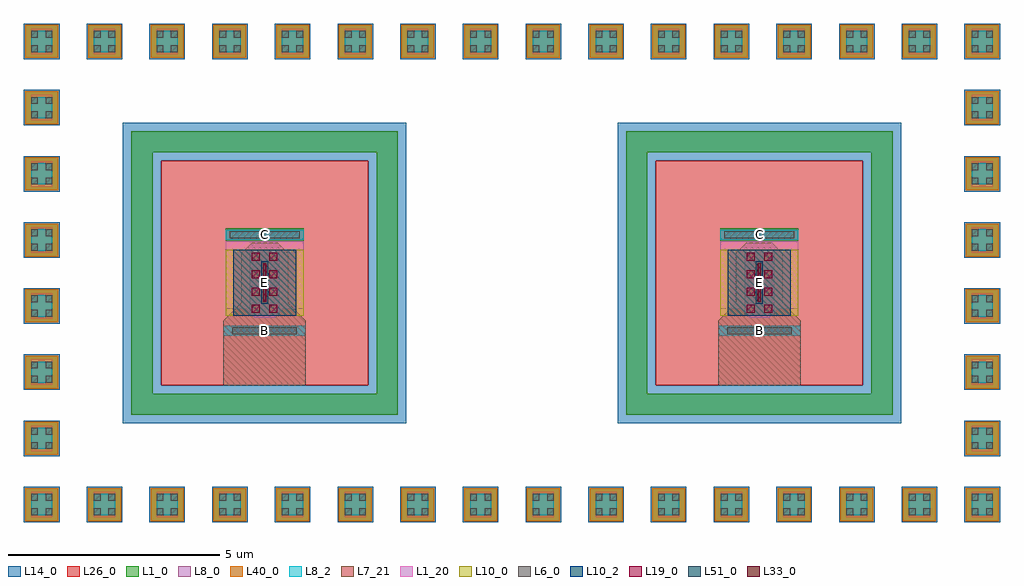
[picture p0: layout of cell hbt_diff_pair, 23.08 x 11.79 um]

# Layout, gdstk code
from math import pi, radians
import gdstk
lib = gdstk.Library(unit=1e-6, precision=1e-09)
def R(c, l, rs):  # rectangles x0, y0, x1, y1
    for r in rs: c.add(gdstk.rectangle(r[:2], r[2:], *l))
def A(c, l, x, y, w, h, nx, ny, dx, dy):  # array of equal rectangles
    R(c, l, [(x+i*dx, y+j*dy, x+i*dx+w, y+j*dy+h) for i in range(nx) for j in range(ny)])
def P(c, l, *ps):  # polygons
    for p in ps: c.add(gdstk.Polygon(p, *l))
L1_0 = (1, 0)
L1_20 = (1, 20)
L6_0 = (6, 0)
L7_21 = (7, 21)
L8_0 = (8, 0)
L8_2 = (8, 2)
L10_0 = (10, 0)
L10_2 = (10, 2)
L14_0 = (14, 0)
L19_0 = (19, 0)
L26_0 = (26, 0)
L33_0 = (33, 0)
L40_0 = (40, 0)
L51_0 = (51, 0)

npn13g2_pair_device_a_n = lib.new_cell('npn13G2_pair_device_a_n')
R(npn13g2_pair_device_a_n, L1_0, [(-0.925,0.98,0.925,1.28)])
P(npn13g2_pair_device_a_n, L1_0, [(-3.15,-3.13),(-3.15,3.58),(2.65,3.58),(2.65,3.08),(-2.65,3.08),(-2.65,-2.63),(2.65,-2.63),(2.65,3.58),(3.15,3.58),(3.15,-3.13)])
P(npn13g2_pair_device_a_n, L1_20, [(-0.235,-0.83),(-0.445,-0.62),(-0.925,-0.62),(-0.925,0.98),(0.925,0.98),(0.925,-0.62),(0.445,-0.62),(0.235,-0.83)])
R(npn13g2_pair_device_a_n, L6_0, [(-0.76,-1.22,0.76,-1.06), (-0.825,1.05,0.825,1.21)])
P(npn13g2_pair_device_a_n, L7_21, [(-0.975,-2.43),(-0.975,-0.9),(-0.555,-0.48),(-0.555,0.69),(-0.305,0.94),(0.305,0.94),(0.555,0.69),(0.555,-0.48),(0.975,-0.9),(0.975,-2.43)])
R(npn13g2_pair_device_a_n, L8_0, [(-0.975,-1.26,0.975,-1.02), (-0.35,-0.785,0.35,0.77), (-0.925,1.01,0.925,1.25)])
R(npn13g2_pair_device_a_n, L8_2, [(-0.975,-1.26,0.975,-1.02), (-0.925,1.01,0.925,1.25)])
R(npn13g2_pair_device_a_n, L10_0, [(-0.925,-0.785,0.925,0.77)])
R(npn13g2_pair_device_a_n, L10_2, [(-0.745,-0.785,0.745,0.77)])
P(npn13g2_pair_device_a_n, L14_0, [(-3.35,-3.33),(-3.35,3.78),(2.45,3.78),(2.45,2.88),(-2.45,2.88),(-2.45,-2.43),(2.45,-2.43),(2.45,3.78),(3.35,3.78),(3.35,-3.33)])
A(npn13g2_pair_device_a_n, L19_0, -0.3, -0.72, 0.19, 0.19, 1, 4, 0, 0.41)
A(npn13g2_pair_device_a_n, L19_0, 0.11, -0.72, 0.19, 0.19, 1, 4, 0, 0.41)
R(npn13g2_pair_device_a_n, L26_0, [(-2.45,-2.43,2.45,2.88)])
R(npn13g2_pair_device_a_n, L33_0, [(-0.035,-0.45,0.035,0.45)])
R(npn13g2_pair_device_a_n, L51_0, [(-0.085,-0.5,0.085,0.5)])
npn13g2_pair_device_a_n.add(gdstk.Label('npn13G2', (0,0), layer=51, texttype=0))
npn13g2_pair_device_a_n.add(gdstk.Label('npn13G2', (0.015,2.31), layer=63, texttype=0))
npn13g2_pair_device_a_n.add(gdstk.Label('C', (0,1.13), layer=63, texttype=0))
npn13g2_pair_device_a_n.add(gdstk.Label('B', (0,-1.14), layer=63, texttype=0))
npn13g2_pair_device_a_n.add(gdstk.Label('E', (0,-0.007), layer=63, texttype=0))
npn13g2_pair_device_a_n.add(gdstk.Label('Ae=1*1*0.07*0.90', (-1.977,-2.546), layer=63, texttype=0))

npn13g2_pair_device_b_m = lib.new_cell('npn13G2_pair_device_b_m')
R(npn13g2_pair_device_b_m, L1_0, [(-0.925,0.98,0.925,1.28)])
P(npn13g2_pair_device_b_m, L1_0, [(-3.15,-3.13),(-3.15,3.58),(2.65,3.58),(2.65,3.08),(-2.65,3.08),(-2.65,-2.63),(2.65,-2.63),(2.65,3.58),(3.15,3.58),(3.15,-3.13)])
P(npn13g2_pair_device_b_m, L1_20, [(-0.235,-0.83),(-0.445,-0.62),(-0.925,-0.62),(-0.925,0.98),(0.925,0.98),(0.925,-0.62),(0.445,-0.62),(0.235,-0.83)])
R(npn13g2_pair_device_b_m, L6_0, [(-0.76,-1.22,0.76,-1.06), (-0.825,1.05,0.825,1.21)])
P(npn13g2_pair_device_b_m, L7_21, [(-0.975,-2.43),(-0.975,-0.9),(-0.555,-0.48),(-0.555,0.69),(-0.305,0.94),(0.305,0.94),(0.555,0.69),(0.555,-0.48),(0.975,-0.9),(0.975,-2.43)])
R(npn13g2_pair_device_b_m, L8_0, [(-0.975,-1.26,0.975,-1.02), (-0.35,-0.785,0.35,0.77), (-0.925,1.01,0.925,1.25)])
R(npn13g2_pair_device_b_m, L8_2, [(-0.975,-1.26,0.975,-1.02), (-0.925,1.01,0.925,1.25)])
R(npn13g2_pair_device_b_m, L10_0, [(-0.925,-0.785,0.925,0.77)])
R(npn13g2_pair_device_b_m, L10_2, [(-0.745,-0.785,0.745,0.77)])
P(npn13g2_pair_device_b_m, L14_0, [(-3.35,-3.33),(-3.35,3.78),(2.45,3.78),(2.45,2.88),(-2.45,2.88),(-2.45,-2.43),(2.45,-2.43),(2.45,3.78),(3.35,3.78),(3.35,-3.33)])
A(npn13g2_pair_device_b_m, L19_0, -0.3, -0.72, 0.19, 0.19, 1, 4, 0, 0.41)
A(npn13g2_pair_device_b_m, L19_0, 0.11, -0.72, 0.19, 0.19, 1, 4, 0, 0.41)
R(npn13g2_pair_device_b_m, L26_0, [(-2.45,-2.43,2.45,2.88)])
R(npn13g2_pair_device_b_m, L33_0, [(-0.035,-0.45,0.035,0.45)])
R(npn13g2_pair_device_b_m, L51_0, [(-0.085,-0.5,0.085,0.5)])
npn13g2_pair_device_b_m.add(gdstk.Label('npn13G2', (0,0), layer=51, texttype=0))
npn13g2_pair_device_b_m.add(gdstk.Label('npn13G2', (0.015,2.31), layer=63, texttype=0))
npn13g2_pair_device_b_m.add(gdstk.Label('C', (0,1.13), layer=63, texttype=0))
npn13g2_pair_device_b_m.add(gdstk.Label('B', (0,-1.14), layer=63, texttype=0))
npn13g2_pair_device_b_m.add(gdstk.Label('E', (0,-0.007), layer=63, texttype=0))
npn13g2_pair_device_b_m.add(gdstk.Label('Ae=1*1*0.07*0.90', (-1.977,-2.546), layer=63, texttype=0))

ptap1 = lib.new_cell('ptap1')
R(ptap1, L1_0, [(0,0,0.78,0.78)])
R(ptap1, L6_0, [(0.14,0.14,0.3,0.3), (0.48,0.14,0.64,0.3), (0.14,0.48,0.3,0.64), (0.48,0.48,0.64,0.64)])
R(ptap1, L8_0, [(0.14,0.09,0.64,0.69), (0.14,0.14,0.64,0.64)])
R(ptap1, L8_2, [(0.14,0.14,0.64,0.64)])
R(ptap1, L14_0, [(-0.03,-0.03,0.81,0.81)])
R(ptap1, L40_0, [(0,0,0.78,0.78)])
ptap1.add(gdstk.Label('sub!', (0.39,0.01), layer=63, texttype=0))
ptap1.add(gdstk.Label('sub!', (0.39,0.01), layer=40, texttype=0))

hbt_diff_pair = lib.new_cell('hbt_diff_pair')
hbt_diff_pair.add(gdstk.Reference(npn13g2_pair_device_a_n, (0,0)))
hbt_diff_pair.add(gdstk.Reference(npn13g2_pair_device_b_m, (11.7,0), rotation=pi, x_reflection=True))
hbt_diff_pair.add(gdstk.Reference(ptap1, (6.2,-5.64)))
hbt_diff_pair.add(gdstk.Reference(ptap1, (16.58,5.31)))
hbt_diff_pair.add(gdstk.Reference(ptap1, (6.2,5.31)))
hbt_diff_pair.add(gdstk.Reference(ptap1, (7.685,-5.64)))
hbt_diff_pair.add(gdstk.Reference(ptap1, (7.685,5.31)))
hbt_diff_pair.add(gdstk.Reference(ptap1, (9.165,-5.64)))
hbt_diff_pair.add(gdstk.Reference(ptap1, (9.165,5.31)))
hbt_diff_pair.add(gdstk.Reference(ptap1, (10.65,-5.64)))
hbt_diff_pair.add(gdstk.Reference(ptap1, (10.65,5.31)))
hbt_diff_pair.add(gdstk.Reference(ptap1, (12.13,-5.64)))
hbt_diff_pair.add(gdstk.Reference(ptap1, (12.13,5.31)))
hbt_diff_pair.add(gdstk.Reference(ptap1, (13.615,-5.64)))
hbt_diff_pair.add(gdstk.Reference(ptap1, (13.615,5.31)))
hbt_diff_pair.add(gdstk.Reference(ptap1, (15.095,-5.64)))
hbt_diff_pair.add(gdstk.Reference(ptap1, (15.095,5.31)))
hbt_diff_pair.add(gdstk.Reference(ptap1, (16.58,-5.64)))
hbt_diff_pair.add(gdstk.Reference(ptap1, (16.58,-4.075)))
hbt_diff_pair.add(gdstk.Reference(ptap1, (16.58,-2.51)))
hbt_diff_pair.add(gdstk.Reference(ptap1, (16.58,-0.945)))
hbt_diff_pair.add(gdstk.Reference(ptap1, (16.58,0.615)))
hbt_diff_pair.add(gdstk.Reference(ptap1, (16.58,2.18)))
hbt_diff_pair.add(gdstk.Reference(ptap1, (16.58,3.745)))
hbt_diff_pair.add(gdstk.Reference(ptap1, (-2.695,-5.64)))
hbt_diff_pair.add(gdstk.Reference(ptap1, (-5.66,-5.64)))
hbt_diff_pair.add(gdstk.Reference(ptap1, (-5.66,-4.075)))
hbt_diff_pair.add(gdstk.Reference(ptap1, (-5.66,-2.51)))
hbt_diff_pair.add(gdstk.Reference(ptap1, (-5.66,-0.945)))
hbt_diff_pair.add(gdstk.Reference(ptap1, (-5.66,0.615)))
hbt_diff_pair.add(gdstk.Reference(ptap1, (-5.66,2.18)))
hbt_diff_pair.add(gdstk.Reference(ptap1, (-5.66,3.745)))
hbt_diff_pair.add(gdstk.Reference(ptap1, (-5.66,5.31)))
hbt_diff_pair.add(gdstk.Reference(ptap1, (-4.175,-5.64)))
hbt_diff_pair.add(gdstk.Reference(ptap1, (-4.175,5.31)))
hbt_diff_pair.add(gdstk.Reference(ptap1, (4.72,5.31)))
hbt_diff_pair.add(gdstk.Reference(ptap1, (-2.695,5.31)))
hbt_diff_pair.add(gdstk.Reference(ptap1, (-1.21,-5.64)))
hbt_diff_pair.add(gdstk.Reference(ptap1, (-1.21,5.31)))
hbt_diff_pair.add(gdstk.Reference(ptap1, (0.27,-5.64)))
hbt_diff_pair.add(gdstk.Reference(ptap1, (0.27,5.31)))
hbt_diff_pair.add(gdstk.Reference(ptap1, (1.755,-5.64)))
hbt_diff_pair.add(gdstk.Reference(ptap1, (1.755,5.31)))
hbt_diff_pair.add(gdstk.Reference(ptap1, (3.235,-5.64)))
hbt_diff_pair.add(gdstk.Reference(ptap1, (3.235,5.31)))
hbt_diff_pair.add(gdstk.Reference(ptap1, (4.72,-5.64)))
hbt_diff_pair.add(gdstk.Label('C', (0,1.13), layer=8, texttype=25))
hbt_diff_pair.add(gdstk.Label('B', (0,-1.14), layer=8, texttype=25))
hbt_diff_pair.add(gdstk.Label('C', (11.7,1.13), layer=8, texttype=25))
hbt_diff_pair.add(gdstk.Label('B', (11.7,-1.14), layer=8, texttype=25))
hbt_diff_pair.add(gdstk.Label('E', (0,-0.008), layer=10, texttype=25))
hbt_diff_pair.add(gdstk.Label('E', (11.7,-0.008), layer=10, texttype=25))

lib.write_gds('hbt_diff_pair.gds')
